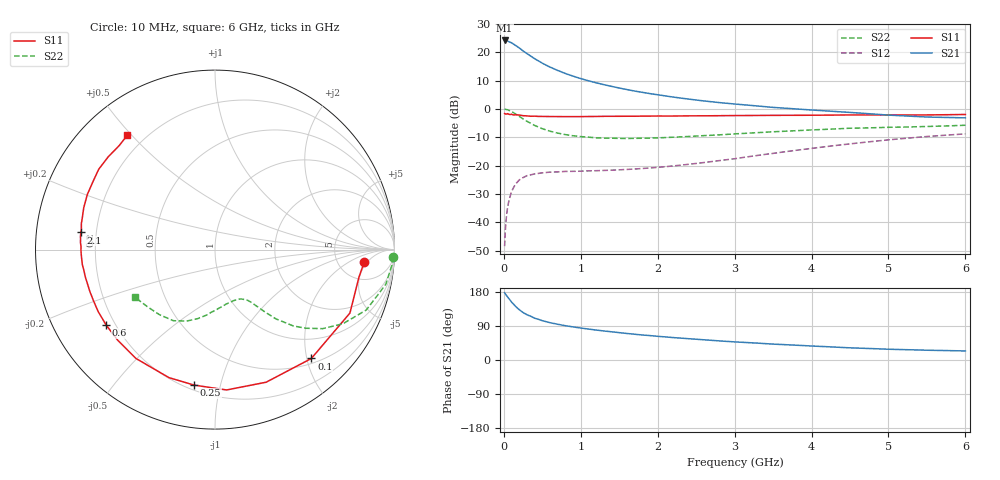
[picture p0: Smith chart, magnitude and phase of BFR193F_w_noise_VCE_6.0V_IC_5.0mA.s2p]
! Infineon Technologies  Discrete & RF Semiconductors
! BFR193F
! VCE =  6.0 V,  IC =  5.0 mA
! Common Emitter S-Parameters:  Jan 2017
# GHz  S  MA  R  50
!  f  S11  S21  S12  S22
! GHz  MAG  ANG  MAG  ANG  MAG  ANG  MAG  ANG
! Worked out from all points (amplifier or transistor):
!   77 points, 10 MHz to 6 GHz, reference 50 ohm
!   highest |S21| = 24.2 dB at 10 MHz (marker M1)
!   |S21| within 3 dB of that: start of sweep to 217.5 MHz
!   unconditionally stable (mu >= 1): 1.847 GHz to 2.965 GHz
!   at 130 MHz: K = 0.10, MSG = 25.2 dB, |S12| = -27.6 dB
!   at 2.2 GHz: K = 1.07, MAG = 10.5 dB, |S12| = -20.1 dB
!   at 6 GHz: K = 0.77, MSG = 2.8 dB, |S12| = -8.8 dB
!   lowest NFmin = 0.81 dB at 450 MHz
!   S11 on the Smith chart (normalised r, x): 10 MHz: 9, -4; 100 MHz: 0.59, -2.08; 250 MHz: 0.23, -0.83; 600 MHz: 0.17, -0.30; 2.1 GHz: 0.14, +0.06; 6 GHz: 0.14, +0.49
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0.01  0.835 -4.7  16.25 177.7  0.0038 84.9  0.9926 -2.4
0.02  0.8167 -10.7  16.07 174.3  0.0074 86.2  0.9908 -4.7
0.05  0.8307 -25.2  15.86 166.1  0.0189 78.8  0.9711 -11.5
0.1  0.81 -48.5  14.82 152.9  0.0348 66.7  0.9074 -21.8
0.15  0.7919 -68.9  13.37 141.9  0.0469 57.5  0.8237 -30.1
0.2  0.7847 -85.3  12 132.8  0.056 50.3  0.744 -36.3
0.25  0.7637 -98.9  10.63 125.3  0.0617 44.6  0.6693 -40.9
0.3  0.7579 -109.8  9.531 119.5  0.0666 41.0  0.6088 -44.3
0.4  0.7496 -126.0  7.74 110.3  0.0716 35.7  0.5139 -48.7
0.5  0.7408 -137.1  6.451 103.8  0.0748 32.6  0.4504 -51.1
0.6  0.7378 -145.3  5.51 98.5  0.077 30.9  0.4067 -52.9
0.7  0.7368 -152.0  4.805 94.3  0.0777 30.1  0.3763 -54.4
0.8  0.7346 -157.0  4.239 90.5  0.0793 30.8  0.354 -55.7
1.1  0.7385 -168.2  3.153 81.6  0.0811 33.6  0.319 -60.3
1.3  0.744 -173.6  2.694 76.6  0.0825 36.4  0.3073 -63.8
1.6  0.7468 -179.6  2.208 70.0  0.0859 42.5  0.3026 -70.0
2.1  0.7531 172.7  1.706 60.9  0.0962 53.0  0.3141 -80.5
2.6  0.7598 166.9  1.391 53.3  0.1137 62.3  0.3396 -90.0
3.1  0.7685 161.2  1.195 46.7  0.1391 68.7  0.3705 -98.1
4.1  0.7794 149.8  0.944 36.0  0.2101 73.5  0.4336 -113.4
5.1  0.7873 137.7  0.77 27.9  0.2941 70.0  0.4786 -132.2
6  0.8026 127.5  0.699 23.9  0.3648 63.7  0.5181 -149.0
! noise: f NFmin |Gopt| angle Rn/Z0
0.45  0.81  0.31  100  0.1
0.9  1.01  0.45  136  0.09
1.9  1.9  0.63  -179  0.06
2.4  2.34  0.67  -168  0.11
